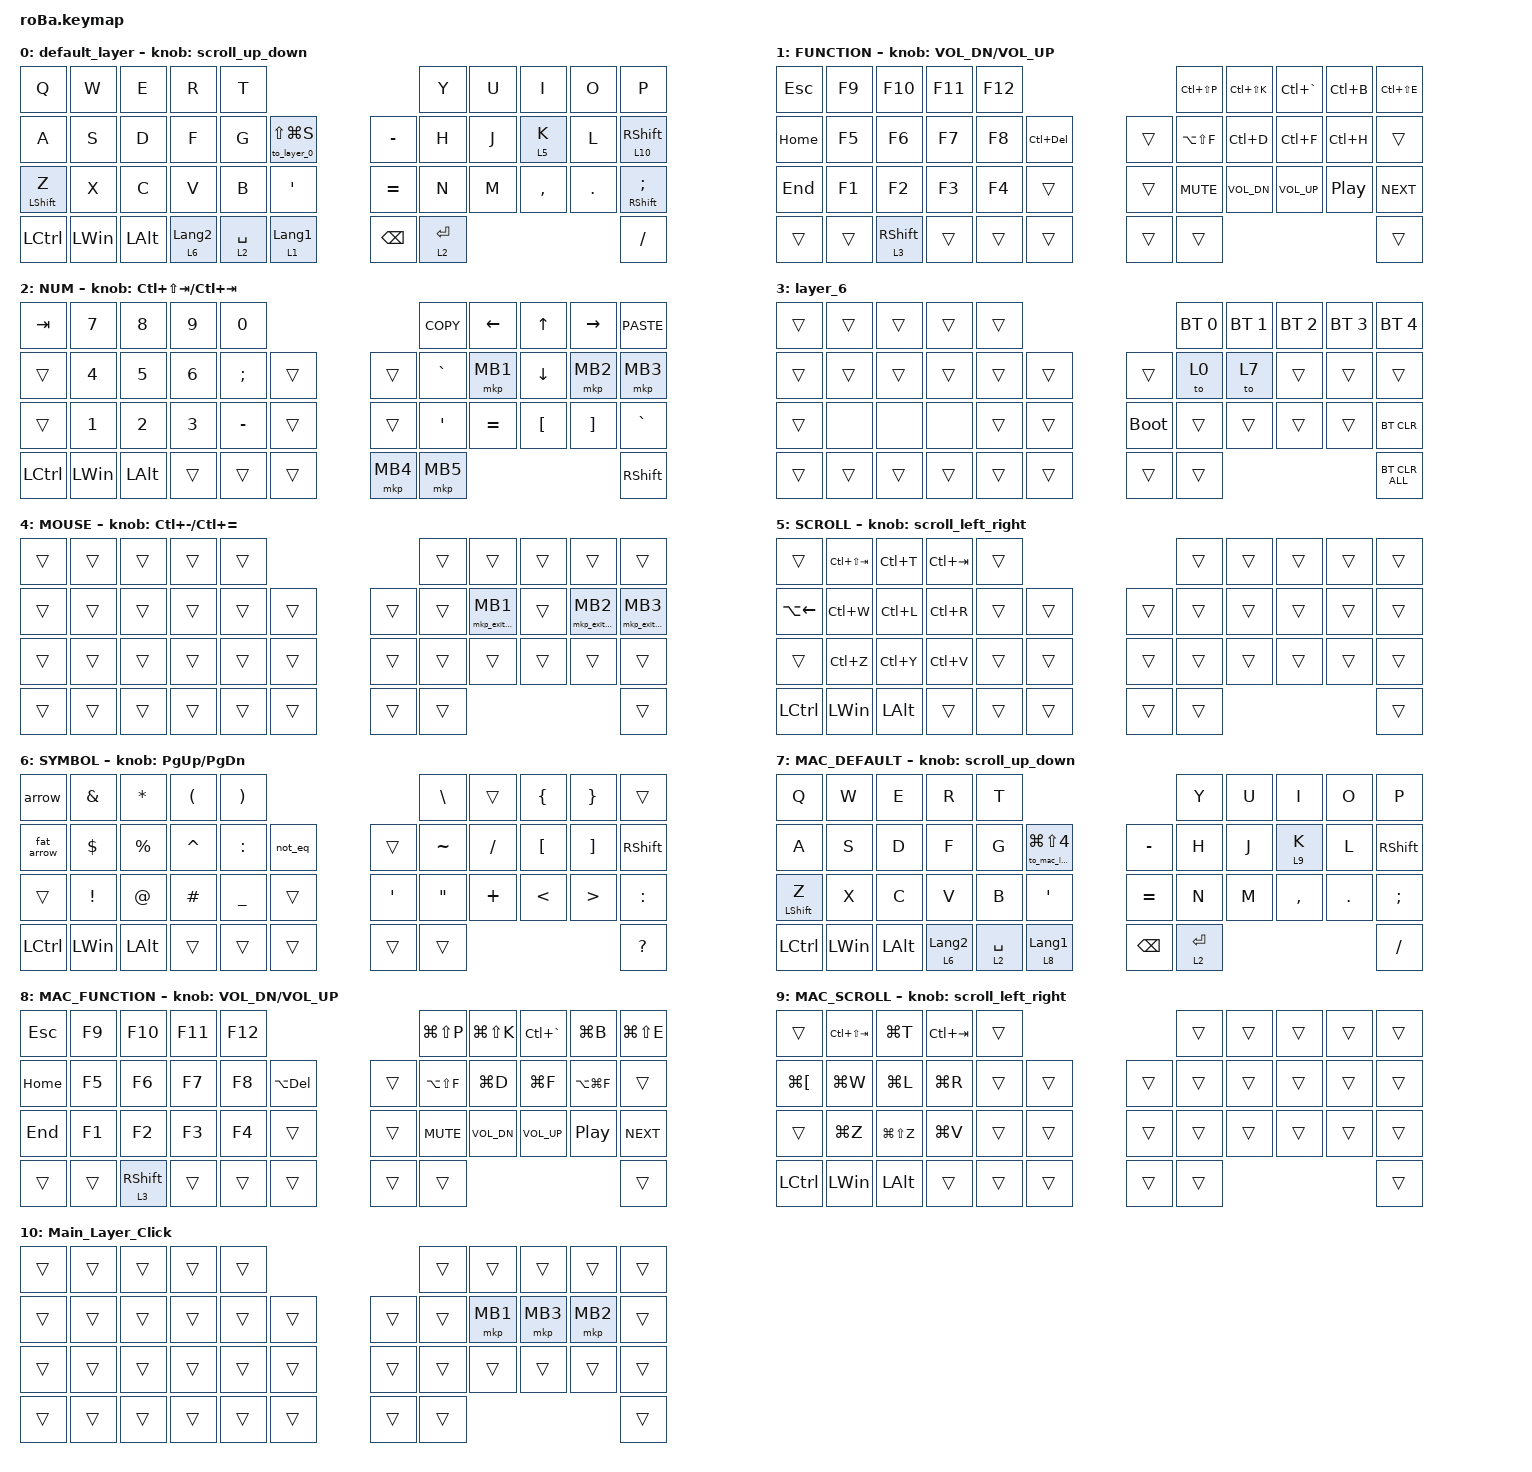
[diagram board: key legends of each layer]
#include <behaviors.dtsi>
#include <dt-bindings/zmk/bt.h>
#include <dt-bindings/zmk/keys.h>
#include <dt-bindings/zmk/pointing.h>

#define MOUSE 4
#define SCROLL 5
#define NUM 6
#define MAC_DEFAULT 7
#define MAC_FUNC 8
#define MAC_SCROLL 9
#define ZMK_POINTING_DEFAULT_SCRL_VAL 100

&mt {
    flavor = "balanced";
    quick-tap-ms = <0>;
};

&trackball { scroll-layers = <5 9>; };

&sl { release-after-ms = <450>; }; // ダブルクリックに必要な時間を設定
/ {
    combos {
        compatible = "zmk,combos";

        SELECT_BT {
            bindings = <&bt BT_SEL 0>;
            key-positions = <22 28>;
        };

        BT_SELECT1 {
            bindings = <&bt BT_SEL 1>;
            key-positions = <23 29>;
        };

        SELECT_BT2 {
            bindings = <&bt BT_SEL 2>;
            key-positions = <24 30>;
        };

        SELECT_BT3 {
            bindings = <&bt BT_SEL 3>;
            key-positions = <25 31>;
        };

        SELECT_BT4 {
            bindings = <&bt BT_SEL 4>;
            key-positions = <26 32>;
        };

        clear_bluetooth {
            bindings = <&bt BT_CLR_ALL>;
            key-positions = <15 27 16 28>;
        };

        // インデント（S+D / D+F）

        TAB_COMBO {
            bindings = <&kp TAB>;
            key-positions = <11 12>;
            layers = <0 7>;
            require-prior-idle-ms = <125>;
        };

        SHIFT_TAB_COMBO {
            bindings = <&kp LS(TAB)>;
            key-positions = <12 13>;
            layers = <0 7>;
            require-prior-idle-ms = <125>;
        };

        // 保存（S+F）

        SAVE {
            bindings = <&kp LC(S)>;
            key-positions = <11 13>;
            layers = <0>;
            require-prior-idle-ms = <125>;
        };

        // アンドゥ（X+C）

        combo_undo {
            bindings = <&kp LC(Z)>;
            key-positions = <23 24>;
            layers = <0>;
            require-prior-idle-ms = <125>;
        };

        // コメントトグル（J+K）

        COMMENT_TOGGLE {
            bindings = <&kp LC(FSLH)>;
            key-positions = <31 30>;
            layers = <0>;
            require-prior-idle-ms = <125>;
        };

        // Escape（Q+W）

        ESC_COMBO {
            bindings = <&kp ESC>;
            key-positions = <0 1>;
            layers = <0 7>;
            require-prior-idle-ms = <125>;
        };

        // Mac専用コンボ（MAC_DEFAULT layer 7 がベースの時のみ発火）

        MAC_SAVE {
            bindings = <&kp LG(S)>;
            key-positions = <11 13>;
            layers = <7>;
            require-prior-idle-ms = <125>;
        };

        MAC_UNDO {
            bindings = <&kp LG(Z)>;
            key-positions = <23 24>;
            layers = <7>;
            require-prior-idle-ms = <125>;
        };

        MAC_COMMENT_TOGGLE {
            bindings = <&kp LG(FSLH)>;
            key-positions = <30 31>;
            layers = <7>;
            require-prior-idle-ms = <125>;
        };
    };

    macros {
        to_layer_0: to_layer_0 {
            compatible = "zmk,behavior-macro-one-param";
            #binding-cells = <1>;
            bindings = <&to 0 &macro_param_1to1 &kp MACRO_PLACEHOLDER>;
            label = "TO_LAYER_0";
        };

        to_mac_layer: to_mac_layer {
            compatible = "zmk,behavior-macro-one-param";
            #binding-cells = <1>;
            bindings = <&to 7 &macro_param_1to1 &kp MACRO_PLACEHOLDER>;
            label = "TO_MAC_LAYER";
        };

        // コーディング用アロー記号マクロ

        arrow: arrow {
            compatible = "zmk,behavior-macro";
            #binding-cells = <0>;
            bindings = <&kp MINUS &kp GT>;
            label = "ARROW";
        };

        fat_arrow: fat_arrow {
            compatible = "zmk,behavior-macro";
            #binding-cells = <0>;
            bindings = <&kp EQUAL &kp GT>;
            label = "FAT_ARROW";
        };

        not_eq: not_eq {
            compatible = "zmk,behavior-macro";
            #binding-cells = <0>;
            bindings = <&kp EXCLAMATION &kp EQUAL>;
            label = "NOT_EQ";
        };

        macros {
            mkp_exit_AML: mkp_exit_AML {
                compatible = "zmk,behavior-macro-one-param";
                #binding-cells = <1>;
                bindings =
                    <&macro_press>,
                    <&macro_param_1to1 &mkp MACRO_PLACEHOLDER>,
                    <&macro_pause_for_release>,
                    <&macro_release>,
                    <&macro_param_1to1 &mkp MACRO_PLACEHOLDER>,
                    <&macro_tap>,
                    <&sl MOUSE>;

                label = "MKP_EXIT_AML";
            };
        };
    };

    behaviors {
        lt_to_layer_0: lt_to_layer_0 {
            compatible = "zmk,behavior-hold-tap";
            label = "LAYER_TAP_TO_0";
            bindings = <&mo>, <&to_layer_0>;

            #binding-cells = <2>;
            tapping-term-ms = <200>;
        };

        scroll_up_down: behavior_sensor_rotate_mouse_wheel_up_down {
            compatible = "zmk,behavior-sensor-rotate";
            #sensor-binding-cells = <0>;
            bindings = <&msc SCRL_DOWN>, <&msc SCRL_UP>;

            // 追加: スクロールのタップ時間を設定 (20ms)

            tap-ms = <20>;
        };

        scroll_left_right: behavior_sensor_rotate_mouse_wheel_left_right {
            compatible = "zmk,behavior-sensor-rotate";
            #sensor-binding-cells = <0>;
            bindings = <&msc SCRL_LEFT>, <&msc SCRL_RIGHT>;

            tap-ms = <20>;
        };
    };

    keymap {
        compatible = "zmk,keymap";

        default_layer {
            bindings = <
&kp Q             &kp W         &kp E         &kp R             &kp T                                              &kp Y        &kp U  &kp I      &kp O    &kp P
&kp A             &kp S         &kp D         &kp F             &kp G        &to_layer_0 LS(LG(S))      &kp MINUS  &kp H        &kp J  &lt 5 K    &kp L    &lt 10 RIGHT_SHIFT
&mt LEFT_SHIFT Z  &kp X         &kp C         &kp V             &kp B        &kp APOS                   &kp EQUAL  &kp N        &kp M  &kp COMMA  &kp DOT  &mt RSHIFT SEMI
&kp LCTRL         &kp LEFT_WIN  &kp LEFT_ALT  &lt 6 LANGUAGE_2  &lt 2 SPACE  &lt 1 LANGUAGE_1           &kp BSPC   &lt 2 ENTER                             &kp FSLH
            >;

            sensor-bindings = <&scroll_up_down>;
        };

        FUNCTION {
            bindings = <
&kp ESC   &kp F9  &kp F10            &kp F11  &kp F12                           &kp LC(LS(P))  &kp LC(LS(K))  &kp LC(GRAVE)  &kp LC(B)  &kp LC(LS(E))
&kp HOME  &kp F5  &kp F6             &kp F7   &kp F8   &kp LC(DEL)      &trans  &kp LA(LS(F))  &kp LC(D)      &kp LC(F)      &kp LC(H)  &trans
&kp END   &kp F1  &kp F2             &kp F3   &kp F4   &trans           &trans  &kp C_MUTE     &kp C_VOL_DN   &kp C_VOL_UP   &kp C_PP   &kp C_NEXT
&trans    &trans  &lt 3 RIGHT_SHIFT  &trans   &trans   &trans           &trans  &trans                                                  &trans
            >;

            sensor-bindings = <&inc_dec_kp C_VOL_DN C_VOL_UP>;
        };

        NUM {
            bindings = <
&kp TAB    &kp N7        &kp N8        &kp N9  &kp N0                           &kp K_COPY  &kp LEFT   &kp UP    &kp RIGHT  &kp K_PASTE
&trans     &kp N4        &kp N5        &kp N6  &kp SEMI   &trans      &trans    &kp GRAVE   &mkp MB1   &kp DOWN  &mkp MB2   &mkp MB3
&trans     &kp N1        &kp N2        &kp N3  &kp MINUS  &trans      &trans    &kp APOS    &kp EQUAL  &kp LBKT  &kp RBKT   &kp GRAVE
&kp LCTRL  &kp LEFT_WIN  &kp LEFT_ALT  &trans  &trans     &trans      &mkp MB4  &mkp MB5                                    &kp RSHFT
            >;

            sensor-bindings = <&inc_dec_kp LC(LS(TAB)) LC(TAB)>;
        };

        layer_6 {
            bindings = <
&trans  &trans  &trans  &trans  &trans                           &bt BT_SEL 0  &bt BT_SEL 1  &bt BT_SEL 2  &bt BT_SEL 3  &bt BT_SEL 4
&trans  &trans  &trans  &trans  &trans  &trans      &trans       &to 0         &to 7         &trans        &trans        &trans
&trans  &none   &none   &none   &trans  &trans      &bootloader  &trans        &trans        &trans        &trans        &bt BT_CLR
&trans  &trans  &trans  &trans  &trans  &trans      &trans       &trans                                                  &bt BT_CLR_ALL
            >;
        };

        MOUSE {
            bindings = <
&trans  &trans  &trans  &trans  &trans                      &trans  &trans             &trans  &trans             &trans
&trans  &trans  &trans  &trans  &trans  &trans      &trans  &trans  &mkp_exit_AML MB1  &trans  &mkp_exit_AML MB2  &mkp_exit_AML MB3
&trans  &trans  &trans  &trans  &trans  &trans      &trans  &trans  &trans             &trans  &trans             &trans
&trans  &trans  &trans  &trans  &trans  &trans      &trans  &trans                                                &trans
            >;

            sensor-bindings = <&inc_dec_kp LC(MINUS) LC(EQUAL)>;
        };

        SCROLL {
            bindings = <
&trans        &kp LC(LS(TAB))  &kp LC(T)     &kp LC(TAB)  &trans                      &trans  &trans  &trans  &trans  &trans
&kp LA(LEFT)  &kp LC(W)        &kp LC(L)     &kp LC(R)    &trans  &trans      &trans  &trans  &trans  &trans  &trans  &trans
&trans        &kp LC(Z)        &kp LC(Y)     &kp LC(V)    &trans  &trans      &trans  &trans  &trans  &trans  &trans  &trans
&kp LCTRL     &kp LEFT_WIN     &kp LEFT_ALT  &trans       &trans  &trans      &trans  &trans                          &trans
            >;

            sensor-bindings = <&scroll_left_right>;
        };

        SYMBOL {
            bindings = <
&arrow      &kp AMPERSAND    &kp ASTERISK  &kp LEFT_PARENTHESIS  &kp RIGHT_PARENTHESIS                                 &kp BSLH           &trans     &kp LEFT_BRACE    &kp RIGHT_BRACE    &trans
&fat_arrow  &kp DOLLAR       &kp PERCENT   &kp CARET             &kp COLON              &not_eq      &trans            &kp TILDE          &kp SLASH  &kp LEFT_BRACKET  &kp RIGHT_BRACKET  &kp RIGHT_SHIFT
&trans      &kp EXCLAMATION  &kp AT_SIGN   &kp HASH              &kp UNDERSCORE         &trans       &kp SINGLE_QUOTE  &kp DOUBLE_QUOTES  &kp PLUS   &kp LESS_THAN     &kp GREATER_THAN   &kp COLON
&kp LCTRL   &kp LEFT_WIN     &kp LEFT_ALT  &trans                &trans                 &trans       &trans            &trans                                                             &kp QUESTION
            >;

            sensor-bindings = <&inc_dec_kp PAGE_UP PAGE_DOWN>;
        };

        // ── Mac モード用レイヤー ──────────────────────────────────────────────
        // BTレイヤー（layer 3）の J=&to 0（Win）/ K=&to 7（Mac）で切り替え

        MAC_DEFAULT {
            bindings = <
&kp Q             &kp W         &kp E         &kp R             &kp T                                                 &kp Y        &kp U  &kp I      &kp O    &kp P
&kp A             &kp S         &kp D         &kp F             &kp G        &to_mac_layer LG(LS(N4))      &kp MINUS  &kp H        &kp J  &lt 9 K    &kp L    &kp RSHFT
&mt LEFT_SHIFT Z  &kp X         &kp C         &kp V             &kp B        &kp APOS                      &kp EQUAL  &kp N        &kp M  &kp COMMA  &kp DOT  &kp SEMI
&kp LCTRL         &kp LEFT_WIN  &kp LEFT_ALT  &lt 6 LANGUAGE_2  &lt 2 SPACE  &lt 8 LANGUAGE_1              &kp BSPC   &lt 2 ENTER                             &kp FSLH
            >;

            sensor-bindings = <&scroll_up_down>;
        };

        MAC_FUNCTION {
            bindings = <
&kp ESC   &kp F9  &kp F10            &kp F11  &kp F12                           &kp LG(LS(P))  &kp LG(LS(K))  &kp LC(GRAVE)  &kp LG(B)      &kp LG(LS(E))
&kp HOME  &kp F5  &kp F6             &kp F7   &kp F8   &kp LA(DEL)      &trans  &kp LA(LS(F))  &kp LG(D)      &kp LG(F)      &kp LA(LG(F))  &trans
&kp END   &kp F1  &kp F2             &kp F3   &kp F4   &trans           &trans  &kp C_MUTE     &kp C_VOL_DN   &kp C_VOL_UP   &kp C_PP       &kp C_NEXT
&trans    &trans  &lt 3 RIGHT_SHIFT  &trans   &trans   &trans           &trans  &trans                                                      &trans
            >;

            sensor-bindings = <&inc_dec_kp C_VOL_DN C_VOL_UP>;
        };

        MAC_SCROLL {
            bindings = <
&trans        &kp LC(LS(TAB))  &kp LG(T)      &kp LC(TAB)  &trans                      &trans  &trans  &trans  &trans  &trans
&kp LG(LBKT)  &kp LG(W)        &kp LG(L)      &kp LG(R)    &trans  &trans      &trans  &trans  &trans  &trans  &trans  &trans
&trans        &kp LG(Z)        &kp LG(LS(Z))  &kp LG(V)    &trans  &trans      &trans  &trans  &trans  &trans  &trans  &trans
&kp LCTRL     &kp LEFT_WIN     &kp LEFT_ALT   &trans       &trans  &trans      &trans  &trans                          &trans
            >;

            sensor-bindings = <&scroll_left_right>;
        };

        Main_Layer_Click {
            bindings = <
&trans  &trans  &trans  &trans  &trans                      &trans  &trans    &trans    &trans    &trans
&trans  &trans  &trans  &trans  &trans  &trans      &trans  &trans  &mkp MB1  &mkp MB3  &mkp MB2  &trans
&trans  &trans  &trans  &trans  &trans  &trans      &trans  &trans  &trans    &trans    &trans    &trans
&trans  &trans  &trans  &trans  &trans  &trans      &trans  &trans                                &trans
            >;
        };
    };
};
